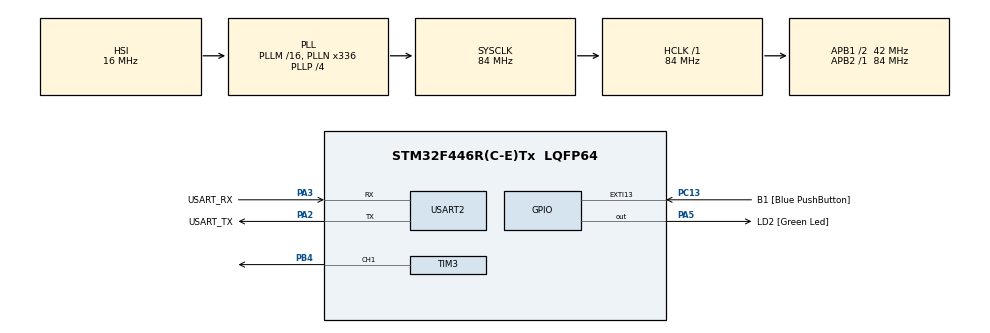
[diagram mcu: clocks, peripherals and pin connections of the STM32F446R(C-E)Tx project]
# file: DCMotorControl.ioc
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Mcu.Family=STM32F4
Mcu.Name=STM32F446R(C-E)Tx
Mcu.Package=LQFP64
NVIC.PriorityGroup=NVIC_PRIORITYGROUP_0
PA13.GPIO_Label=TMS
PA13.Mode=Serial_Wire
PA13.Signal=SYS_JTMS-SWDIO
PA14.GPIO_Label=TCK
PA14.Mode=Serial_Wire
PA14.Signal=SYS_JTCK-SWCLK
PA2.GPIO_Label=USART_TX
PA2.Mode=Asynchronous
PA2.Signal=USART2_TX
PA3.GPIO_Label=USART_RX
PA3.Mode=Asynchronous
PA3.Signal=USART2_RX
PA5.GPIO_Label=LD2 [Green Led]
PA5.Signal=GPIO_Output
PB3.GPIO_Label=SWO
PB3.Signal=SYS_JTDO-SWO
PB4.Signal=S_TIM3_CH1
PC13.GPIO_Label=B1 [Blue PushButton]
PC13.GPIO_ModeDefaultEXTI=GPIO_MODE_IT_FALLING
PC13.Signal=GPXTI13
PC14-OSC32_IN.Mode=LSE-External-Oscillator
PC14-OSC32_IN.Signal=RCC_OSC32_IN
PC15-OSC32_OUT.Mode=LSE-External-Oscillator
PC15-OSC32_OUT.Signal=RCC_OSC32_OUT
PH0-OSC_IN.Mode=HSE-External-Oscillator
PH0-OSC_IN.Signal=RCC_OSC_IN
PH1-OSC_OUT.Mode=HSE-External-Oscillator
PH1-OSC_OUT.Signal=RCC_OSC_OUT
ProjectManager.HeapSize=0x200
ProjectManager.StackSize=0x400
ProjectManager.TargetToolchain=STM32CubeIDE
RCC.48MHZClocksFreq_Value=84000000
RCC.AHBFreq_Value=84000000
RCC.APB1CLKDivider=RCC_HCLK_DIV2
RCC.APB1Freq_Value=42000000
RCC.APB1TimFreq_Value=84000000
RCC.APB2Freq_Value=84000000
RCC.APB2TimFreq_Value=84000000
RCC.CortexFreq_Value=84000000
RCC.FLatency-AdvancedSettings=FLASH_LATENCY_2
RCC.HCLKFreq_Value=84000000
RCC.HSE_VALUE=8000000
RCC.HSI_VALUE=16000000
RCC.PLLN=336
RCC.PLLP=RCC_PLLP_DIV4
RCC.SYSCLKFreq_VALUE=84000000
RCC.SYSCLKSource=RCC_SYSCLKSOURCE_PLLCLK
RCC.USBFreq_Value=168000000
RCC.VCOOutputFreq_Value=336000000
SH.S_TIM3_CH1.0=TIM3_CH1,PWM Generation1 CH1
TIM3.Channel-PWM\ Generation1\ CH1=TIM_CHANNEL_1
TIM3.Period=4499
USART2.VirtualMode=VM_ASYNC
board=NUCLEO-F446RE

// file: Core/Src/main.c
/* USER CODE BEGIN Header */
/**
  ******************************************************************************
  * @file           : main.c
  * @brief          : Main program body
  ******************************************************************************
  * @attention
  *
  * Copyright (c) 2025 STMicroelectronics.
  * All rights reserved.
  *
  * This software is licensed under terms that can be found in the LICENSE file
  * in the root directory of this software component.
  * If no LICENSE file comes with this software, it is provided AS-IS.
  *
  * This project demonstrates a simplified embedded firmware solution to control
  * a DC motor using STM32 Nucleo-F446RE. Motor speed is controlled dynamically
  * via UART input by adjusting the PWM duty cycle.
  *
  ******************************************************************************
  */
/* USER CODE END Header */
#include "main.h"

/* USER CODE BEGIN Includes */
#include "stm32f4xx_hal.h" // STM32 HAL library for hardware abstraction

/* USER CODE END Includes */

TIM_HandleTypeDef htim3;  // Timer handler for PWM generation

UART_HandleTypeDef huart2; // UART handler for serial communication

uint8_t rxBuffer; // Buffer to store received UART data

void SystemClock_Config(void);
static void MX_GPIO_Init(void);
static void MX_USART2_UART_Init(void);
static void MX_TIM3_Init(void);

void Start_PWM(void);
void Set_PWM_Duty_Cycle(uint32_t dutyCycle);
void Set_Motor_Speed(uint8_t speed);
void UART_Start_Receive_IT(void);
void Print_Speed_Level(uint8_t speed);

int main(void)
{

  /* MCU Configuration--------------------------------------------------------*/

  /* Reset of all peripherals, Initializes the Flash interface and the Systick. */
	// STM32 HAL initialization
	HAL_Init();

  /* Configure the system clock */
  SystemClock_Config();

  /* Initialize all configured peripherals */
  MX_GPIO_Init();
  MX_USART2_UART_Init();
  MX_TIM3_Init();
  /* USER CODE BEGIN 2 */
  // Start PWM signal generation
  Start_PWM();

  // Start UART reception in interrupt mode
  UART_Start_Receive_IT();

  // Set initial motor speed to stop (safe start)
  Set_Motor_Speed(0);

  /* USER CODE END 2 */

  /* Infinite loop: Main logic is handled in interrupt callbacks */
  while (1)
  {

  }
}

void SystemClock_Config(void)
{
  RCC_OscInitTypeDef RCC_OscInitStruct = {0};
  RCC_ClkInitTypeDef RCC_ClkInitStruct = {0};

  /** Configure the main internal regulator output voltage
  */
  __HAL_RCC_PWR_CLK_ENABLE();
  __HAL_PWR_VOLTAGESCALING_CONFIG(PWR_REGULATOR_VOLTAGE_SCALE3);

  /** Initializes the RCC Oscillators according to the specified parameters
  * in the RCC_OscInitTypeDef structure.
  */
  RCC_OscInitStruct.OscillatorType = RCC_OSCILLATORTYPE_HSI;
  RCC_OscInitStruct.HSIState = RCC_HSI_ON;
  RCC_OscInitStruct.HSICalibrationValue = RCC_HSICALIBRATION_DEFAULT;
  RCC_OscInitStruct.PLL.PLLState = RCC_PLL_ON;
  RCC_OscInitStruct.PLL.PLLSource = RCC_PLLSOURCE_HSI;
  RCC_OscInitStruct.PLL.PLLM = 16;
  RCC_OscInitStruct.PLL.PLLN = 336;
  RCC_OscInitStruct.PLL.PLLP = RCC_PLLP_DIV4;
  RCC_OscInitStruct.PLL.PLLQ = 2;
  RCC_OscInitStruct.PLL.PLLR = 2;
  if (HAL_RCC_OscConfig(&RCC_OscInitStruct) != HAL_OK)
  {
    Error_Handler();
  }

  /** Initializes the CPU, AHB and APB buses clocks
  */
  RCC_ClkInitStruct.ClockType = RCC_CLOCKTYPE_HCLK|RCC_CLOCKTYPE_SYSCLK
                              |RCC_CLOCKTYPE_PCLK1|RCC_CLOCKTYPE_PCLK2;
  RCC_ClkInitStruct.SYSCLKSource = RCC_SYSCLKSOURCE_PLLCLK;
  RCC_ClkInitStruct.AHBCLKDivider = RCC_SYSCLK_DIV1;
  RCC_ClkInitStruct.APB1CLKDivider = RCC_HCLK_DIV2;
  RCC_ClkInitStruct.APB2CLKDivider = RCC_HCLK_DIV1;

  if (HAL_RCC_ClockConfig(&RCC_ClkInitStruct, FLASH_LATENCY_2) != HAL_OK)
  {
    Error_Handler();
  }
}

static void MX_TIM3_Init(void)
{

  TIM_MasterConfigTypeDef sMasterConfig = {0};
  TIM_OC_InitTypeDef sConfigOC = {0};

  htim3.Instance = TIM3;
  htim3.Init.Prescaler = 0;
  htim3.Init.CounterMode = TIM_COUNTERMODE_UP;
  htim3.Init.Period = 4499; // ~20kHz PWM
  htim3.Init.ClockDivision = TIM_CLOCKDIVISION_DIV1;
  htim3.Init.AutoReloadPreload = TIM_AUTORELOAD_PRELOAD_DISABLE;
  if (HAL_TIM_PWM_Init(&htim3) != HAL_OK)
  {
    Error_Handler();
  }
  sMasterConfig.MasterOutputTrigger = TIM_TRGO_RESET;
  sMasterConfig.MasterSlaveMode = TIM_MASTERSLAVEMODE_DISABLE;
  if (HAL_TIMEx_MasterConfigSynchronization(&htim3, &sMasterConfig) != HAL_OK)
  {
    Error_Handler();
  }
  sConfigOC.OCMode = TIM_OCMODE_PWM1;
  sConfigOC.Pulse = 0; // Initial pulse (0% duty cycle)
  sConfigOC.OCPolarity = TIM_OCPOLARITY_HIGH;
  sConfigOC.OCFastMode = TIM_OCFAST_DISABLE;
  if (HAL_TIM_PWM_ConfigChannel(&htim3, &sConfigOC, TIM_CHANNEL_1) != HAL_OK)
  {
    Error_Handler();
  }
  HAL_TIM_MspPostInit(&htim3);

}

static void MX_USART2_UART_Init(void)
{

  huart2.Instance = USART2;
  huart2.Init.BaudRate = 115200;
  huart2.Init.WordLength = UART_WORDLENGTH_8B;
  huart2.Init.StopBits = UART_STOPBITS_1;
  huart2.Init.Parity = UART_PARITY_NONE;
  huart2.Init.Mode = UART_MODE_TX_RX;
  huart2.Init.HwFlowCtl = UART_HWCONTROL_NONE;
  huart2.Init.OverSampling = UART_OVERSAMPLING_16;
  if (HAL_UART_Init(&huart2) != HAL_OK)
  {
    Error_Handler();
  }

}

static void MX_GPIO_Init(void)
{
  GPIO_InitTypeDef GPIO_InitStruct = {0};

  /* GPIO Ports Clock Enable */
  __HAL_RCC_GPIOC_CLK_ENABLE();
  __HAL_RCC_GPIOH_CLK_ENABLE();
  __HAL_RCC_GPIOA_CLK_ENABLE();
  __HAL_RCC_GPIOB_CLK_ENABLE();

  /*Configure GPIO pin Output Level */
  HAL_GPIO_WritePin(LD2_GPIO_Port, LD2_Pin, GPIO_PIN_RESET);

  /*Configure GPIO pin : B1_Pin */
  GPIO_InitStruct.Pin = B1_Pin;
  GPIO_InitStruct.Mode = GPIO_MODE_IT_FALLING;
  GPIO_InitStruct.Pull = GPIO_NOPULL;
  HAL_GPIO_Init(B1_GPIO_Port, &GPIO_InitStruct);

  /*Configure GPIO pin : LD2_Pin */
  GPIO_InitStruct.Pin = LD2_Pin;
  GPIO_InitStruct.Mode = GPIO_MODE_OUTPUT_PP;
  GPIO_InitStruct.Pull = GPIO_NOPULL;
  GPIO_InitStruct.Speed = GPIO_SPEED_FREQ_LOW;
  HAL_GPIO_Init(LD2_GPIO_Port, &GPIO_InitStruct);

}

/* USER CODE BEGIN 4 */

/* Start PWM Generation -----------------------------------------------------*/
void Start_PWM(void)
{
    HAL_TIM_PWM_Start(&htim3, TIM_CHANNEL_1);
}

/* Set PWM Duty Cycle -------------------------------------------------------*/
void Set_PWM_Duty_Cycle(uint32_t dutyCycle)
{
    __HAL_TIM_SET_COMPARE(&htim3, TIM_CHANNEL_1, dutyCycle);
}

/* Set Motor Speed (Discrete Levels) ----------------------------------------*/
void Set_Motor_Speed(uint8_t speed)
{
    switch(speed)
    {
        case 0: // Stop
            Set_PWM_Duty_Cycle(0);
            break;
        case 1: // Low Speed
            Set_PWM_Duty_Cycle(2100); // 25% Duty Cycle
            break;
        case 2: // Medium Speed
            Set_PWM_Duty_Cycle(4200); // 50% Duty Cycle
            break;
        case 3: // High Speed
            Set_PWM_Duty_Cycle(6300); // 75% Duty Cycle
            break;
        default:
			Set_PWM_Duty_Cycle(0); // Safety: Default to stop
			break;
    }

    // Print current speed level to UART for confirmation
	Print_Speed_Level(speed);
}

/* Start UART Reception Interrupt -------------------------------------------*/
void UART_Start_Receive_IT(void)
{
    HAL_UART_Receive_IT(&huart2, &rxBuffer, 1);
}

/* UART Receive Complete Callback -------------------------------------------*/
void HAL_UART_RxCpltCallback(UART_HandleTypeDef *huart)
{
    if (huart->Instance == USART2)
    {
        switch (rxBuffer)
        {
            case '0':
                Set_Motor_Speed(0);
                break;
            case '1':
                Set_Motor_Speed(1);
                break;
            case '2':
                Set_Motor_Speed(2);
                break;
            case '3':
                Set_Motor_Speed(3);
                break;
            default:
                // Ignore other inputs
                break;
        }

        // Restart reception
        UART_Start_Receive_IT();
    }
}

/* Print Current Speed to UART ----------------------------------------------*/
void Print_Speed_Level(uint8_t speed)
{
    char msg[50];
    sprintf(msg, "Current Speed Level: %d\r\n", speed);
    HAL_UART_Transmit(&huart2, (uint8_t*)msg, strlen(msg), HAL_MAX_DELAY);
}

/* USER CODE END 4 */

void Error_Handler(void)
{
  __disable_irq();
  while (1)
  {
  }
}
